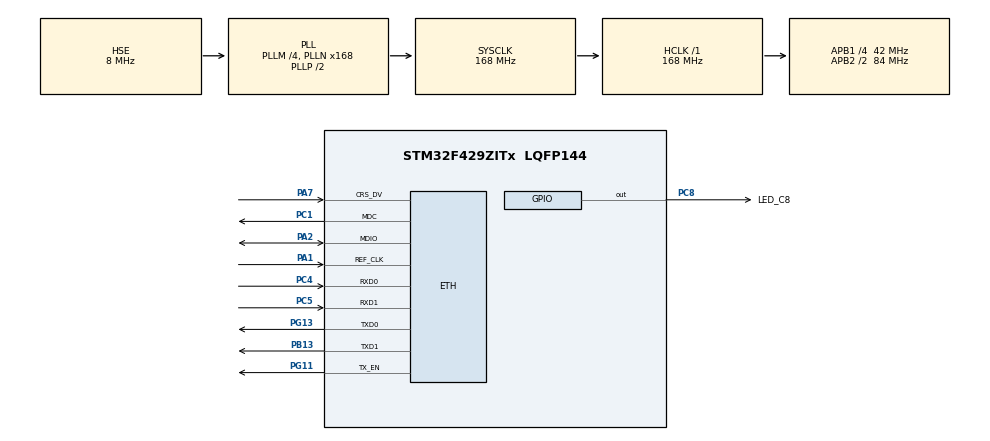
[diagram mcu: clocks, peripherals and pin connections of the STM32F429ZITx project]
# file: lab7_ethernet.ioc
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ETH.MACAddr=00\:80\:E1\:CD\:FF\:AD
ETH.MediaInterface=HAL_ETH_RMII_MODE
ETH.RxMode=ETH_RXINTERRUPT_MODE
FREERTOS.Tasks01=defaultTask,0,128,StartDefaultTask,Default,NULL,Dynamic,NULL,NULL
FREERTOS.configTOTAL_HEAP_SIZE=25360
FREERTOS.configUSE_NEWLIB_REENTRANT=0
FREERTOS.copyHeapFile=1
LWIP.BSP.number=1
LWIP.CMSIS_VERSION-Enabled=1
LWIP.GATEWAY_ADDRESS=192.168.010.001
LWIP.IP_ADDRESS=192.168.010.168
LWIP.LWIP_DHCP=0
LWIP.MEM_SIZE=10*1024
LWIP.NETMASK_ADDRESS=255.255.255.000
LWIP.Version=v2.1.2_Cube
LWIP0.BSP.STBoard=false
LWIP0.BSP.api=BSP_COMPONENT_DRIVER
LWIP0.BSP.component=LAN8742
LWIP0.BSP.instance=LAN8742
LWIP0.BSP.name=Driver_PHY
LWIP0.BSP.semaphore=S_LAN8742
LWIP0.BSP.solution=LAN8742
Mcu.Family=STM32F4
Mcu.Name=STM32F429ZITx
Mcu.Package=LQFP144
NVIC.ETH_IRQn=true\:5\:0\:false\:false\:true\:true\:false\:true\:true
NVIC.PriorityGroup=NVIC_PRIORITYGROUP_4
NVIC.TIM1_UP_TIM10_IRQn=true\:15\:0\:false\:false\:true\:false\:false\:true\:true
NVIC.TimeBase=TIM1_UP_TIM10_IRQn
NVIC.TimeBaseIP=TIM1
PA1.Mode=RMII
PA1.Signal=ETH_REF_CLK
PA13.Mode=Serial_Wire
PA13.Signal=SYS_JTMS-SWDIO
PA14.Mode=Serial_Wire
PA14.Signal=SYS_JTCK-SWCLK
PA2.Mode=RMII
PA2.Signal=ETH_MDIO
PA7.Mode=RMII
PA7.Signal=ETH_CRS_DV
PB13.Mode=RMII
PB13.Signal=ETH_TXD1
PC1.Mode=RMII
PC1.Signal=ETH_MDC
PC14/OSC32_IN.Mode=LSE-External-Oscillator
PC14/OSC32_IN.Signal=RCC_OSC32_IN
PC15/OSC32_OUT.Mode=LSE-External-Oscillator
PC15/OSC32_OUT.Signal=RCC_OSC32_OUT
PC4.Mode=RMII
PC4.Signal=ETH_RXD0
PC5.Mode=RMII
PC5.Signal=ETH_RXD1
PC8.GPIO_Label=LED_C8
PC8.Signal=GPIO_Output
PG11.Mode=RMII
PG11.Signal=ETH_TX_EN
PG13.Mode=RMII
PG13.Signal=ETH_TXD0
PH0/OSC_IN.Mode=HSE-External-Oscillator
PH0/OSC_IN.Signal=RCC_OSC_IN
PH1/OSC_OUT.Mode=HSE-External-Oscillator
PH1/OSC_OUT.Signal=RCC_OSC_OUT
ProjectManager.HeapSize=0x200
ProjectManager.StackSize=0x400
ProjectManager.TargetToolchain=MDK-ARM V5.32
RCC.48MHZClocksFreq_Value=48000000
RCC.AHBFreq_Value=168000000
RCC.APB1CLKDivider=RCC_HCLK_DIV4
RCC.APB1Freq_Value=42000000
RCC.APB1TimFreq_Value=84000000
RCC.APB2CLKDivider=RCC_HCLK_DIV2
RCC.APB2Freq_Value=84000000
RCC.APB2TimCLKDivider=2
RCC.APB2TimFreq_Value=168000000
RCC.CortexFreq_Value=168000000
RCC.HCLKFreq_Value=168000000
RCC.HSE_VALUE=8000000
RCC.HSI_VALUE=16000000
RCC.PLLM=4
RCC.PLLMUL=RCC_PLL_MUL9
RCC.PLLN=168
RCC.PLLQ=7
RCC.PLLSourceVirtual=RCC_PLLSOURCE_HSE
RCC.PRESCALERUSB=RCC_USBCLKSOURCE_PLL_DIV1_5
RCC.SYSCLKFreq_VALUE=168000000
RCC.SYSCLKSource=RCC_SYSCLKSOURCE_PLLCLK
RCC.SYSCLKSourceVirtual=RCC_SYSCLKSOURCE_PLLCLK
RCC.USBFreq_Value=48000000
RCC.VCOOutputFreq_Value=336000000
VP_FREERTOS_VS_CMSIS_V1.Mode=CMSIS_V1
VP_LWIP_VS_Enabled.Mode=Enabled
VP_SYS_VS_tim1.Mode=TIM1
board=NUCLEO-F429ZI

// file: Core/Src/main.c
/* USER CODE BEGIN Header */
/**
  ******************************************************************************
  * @file           : main.c
  * @brief          : Main program body
  ******************************************************************************
  * @attention
  *
  * Copyright (c) 2024 STMicroelectronics.
  * All rights reserved.
  *
  * This software is licensed under terms that can be found in the LICENSE file
  * in the root directory of this software component.
  * If no LICENSE file comes with this software, it is provided AS-IS.
  *
  ******************************************************************************
  */
/* USER CODE END Header */
#include "main.h"
#include "cmsis_os.h"
#include "lwip.h"
#include "gpio.h"

/* USER CODE BEGIN Includes */

//#include "tcpclient.h"
#include "FreeRTOS.h"
#include "task.h"
#include "semphr.h"
#include "lwip/opt.h"
#include "lwip/api.h"
#include "lwip/sys.h"
#include "string.h"
#include "stdio.h"
/* USER CODE END Includes */

/* USER CODE BEGIN PV */

/*********freeRTOS*********/
TaskHandle_t handleETH;
TaskHandle_t handleTCP_Init;
TaskHandle_t handleTCP_Send;
SemaphoreHandle_t xSemTCP;

/*********LWIP*********/
static struct netconn *connTCP;
static struct netbuf *bufTCP;
static ip_addr_t addrDest;
static unsigned short port, portDest;
char msgc[100];
char smsgc[200];
int indx = 0; //send index
/* USER CODE END PV */

void SystemClock_Config(void);
void MX_FREERTOS_Init(void);
/* USER CODE BEGIN PFP */
void sendPackage(char *package);
/* USER CODE END PFP */

/* USER CODE BEGIN 0 */
/****************
!!don't remove!!
****************/
FILE __stdout;

int fputc(int c, FILE *f) {
  return (0);
}

/****************
!!don't remove!!
https://reurl.cc/Wx1YDe
****************/

void taskTCP_Init(void *pvParm){
	err_t err, connect;
	//create new connection
	connTCP = netconn_new(NETCONN_TCP);
	if(connTCP != NULL){

		/******************
		connTCP -> connection which to bind
		IP_ADDR_ANY -> local ip to bind, if use this variable it means to bind all local ip
		7 -> local port to bind
		******************/
		err = netconn_bind(connTCP, IP_ADDR_ANY, 7);

		if(err == ERR_OK){
			//server ip, port
			IP_ADDR4(&addrDest, 192, 168, 10, 181);
			portDest = 8051;

			//connect server
			connect = netconn_connect(connTCP, &addrDest, portDest);
			if(connect == ERR_OK){
				xSemaphoreGive(xSemTCP);
				while(1){
					/*wait for receive the data from server*/
					if(netconn_recv(connTCP, &bufTCP) == ERR_OK){
						/*if rxBuf is not empty, process rxBUF and sent it back*/
						do{
							//take out the data from server sent
							strncpy(msgc, bufTCP->p->payload, bufTCP->p->len);
							//take the data into txBuf
							snprintf(smsgc, sizeof(smsgc), "%s sent from server \n", msgc);

							xSemaphoreTake(xSemTCP, 500);
							sendPackage(smsgc);

							memset(msgc, 0, 100);
						}while(netbuf_next(bufTCP) > 0);//until all data in rxBuf is processed
						netbuf_delete(bufTCP);
					}
				}
			}
			else{
				//connect fail
				netconn_close(connTCP);
				netconn_delete(connTCP);
			}
		}
		else{
			//bind fail
			netconn_delete(connTCP);
		}
	}
}

void sendPackage(char *package){
	//send package to connection
	netconn_write(connTCP, package, strlen(package), NETCONN_COPY);
	xSemaphoreGive(xSemTCP);
}

void taskTCP_Send(void *pvParm){
	while(1){
		snprintf(smsgc, sizeof(smsgc), "send by client %d times \n", indx++);
		xSemaphoreTake(xSemTCP, 500);
		sendPackage(smsgc);

		vTaskDelay(1000);
	}
}

void taskETH(void *pvParm){
	/*************
	init LwIP first
	*************/
	MX_LWIP_Init();

	xSemTCP = xSemaphoreCreateBinary();
	xTaskCreate(taskTCP_Init, "TCP init", 1024, NULL, 0, &handleTCP_Init);
	xTaskCreate(taskTCP_Send, "TCP send", 1024, NULL, 0, &handleTCP_Send);

	while(1){
		HAL_GPIO_TogglePin(LED_C8_GPIO_Port, LED_C8_Pin);
		vTaskDelay(100);
	}
}

/* USER CODE END 0 */

int main(void)
{

  /* MCU Configuration--------------------------------------------------------*/

  /* Reset of all peripherals, Initializes the Flash interface and the Systick. */
  HAL_Init();

  /* Configure the system clock */
  SystemClock_Config();

  /* Initialize all configured peripherals */
  MX_GPIO_Init();
  /* USER CODE BEGIN 2 */
	xTaskCreate(taskETH, "ETH example", 1024, NULL, 1, &handleETH);
	vTaskStartScheduler();
  /* USER CODE END 2 */

  /* Call init function for freertos objects (in freertos.c) */
  MX_FREERTOS_Init();

  /* Start scheduler */
  osKernelStart();

  /* We should never get here as control is now taken by the scheduler */
  /* Infinite loop */
  while (1)
  {

  }
}

void SystemClock_Config(void)
{
  RCC_OscInitTypeDef RCC_OscInitStruct = {0};
  RCC_ClkInitTypeDef RCC_ClkInitStruct = {0};

  /** Configure the main internal regulator output voltage
  */
  __HAL_RCC_PWR_CLK_ENABLE();
  __HAL_PWR_VOLTAGESCALING_CONFIG(PWR_REGULATOR_VOLTAGE_SCALE1);

  /** Initializes the RCC Oscillators according to the specified parameters
  * in the RCC_OscInitTypeDef structure.
  */
  RCC_OscInitStruct.OscillatorType = RCC_OSCILLATORTYPE_HSE;
  RCC_OscInitStruct.HSEState = RCC_HSE_ON;
  RCC_OscInitStruct.PLL.PLLState = RCC_PLL_ON;
  RCC_OscInitStruct.PLL.PLLSource = RCC_PLLSOURCE_HSE;
  RCC_OscInitStruct.PLL.PLLM = 4;
  RCC_OscInitStruct.PLL.PLLN = 168;
  RCC_OscInitStruct.PLL.PLLP = RCC_PLLP_DIV2;
  RCC_OscInitStruct.PLL.PLLQ = 7;
  if (HAL_RCC_OscConfig(&RCC_OscInitStruct) != HAL_OK)
  {
    Error_Handler();
  }

  /** Initializes the CPU, AHB and APB buses clocks
  */
  RCC_ClkInitStruct.ClockType = RCC_CLOCKTYPE_HCLK|RCC_CLOCKTYPE_SYSCLK
                              |RCC_CLOCKTYPE_PCLK1|RCC_CLOCKTYPE_PCLK2;
  RCC_ClkInitStruct.SYSCLKSource = RCC_SYSCLKSOURCE_PLLCLK;
  RCC_ClkInitStruct.AHBCLKDivider = RCC_SYSCLK_DIV1;
  RCC_ClkInitStruct.APB1CLKDivider = RCC_HCLK_DIV4;
  RCC_ClkInitStruct.APB2CLKDivider = RCC_HCLK_DIV2;

  if (HAL_RCC_ClockConfig(&RCC_ClkInitStruct, FLASH_LATENCY_5) != HAL_OK)
  {
    Error_Handler();
  }
}

void HAL_TIM_PeriodElapsedCallback(TIM_HandleTypeDef *htim)
{
  if (htim->Instance == TIM1) {
    HAL_IncTick();
  }
}

void Error_Handler(void)
{
  __disable_irq();
  while (1)
  {
  }
}
